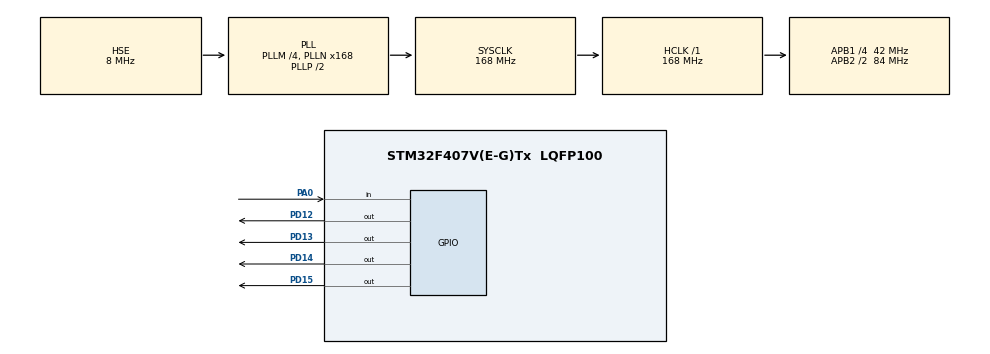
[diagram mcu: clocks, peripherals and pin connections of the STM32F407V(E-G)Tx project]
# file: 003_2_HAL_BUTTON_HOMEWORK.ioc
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Mcu.Family=STM32F4
Mcu.Name=STM32F407V(E-G)Tx
Mcu.Package=LQFP100
NVIC.PriorityGroup=NVIC_PRIORITYGROUP_4
PA0-WKUP.GPIO_PuPd=GPIO_PULLDOWN
PA0-WKUP.Signal=GPIO_Input
PD12.GPIO_ModeDefaultOutputPP=GPIO_MODE_OUTPUT_PP
PD12.GPIO_Speed=GPIO_SPEED_FREQ_VERY_HIGH
PD12.Signal=GPIO_Output
PD13.GPIO_Speed=GPIO_SPEED_FREQ_VERY_HIGH
PD13.Signal=GPIO_Output
PD14.GPIO_Speed=GPIO_SPEED_FREQ_VERY_HIGH
PD14.Signal=GPIO_Output
PD15.GPIO_Speed=GPIO_SPEED_FREQ_VERY_HIGH
PD15.Signal=GPIO_Output
PH0-OSC_IN.Mode=HSE-External-Oscillator
PH0-OSC_IN.Signal=RCC_OSC_IN
PH1-OSC_OUT.Mode=HSE-External-Oscillator
PH1-OSC_OUT.Signal=RCC_OSC_OUT
ProjectManager.HeapSize=0x200
ProjectManager.StackSize=0x400
ProjectManager.TargetToolchain=TrueSTUDIO
RCC.48MHZClocksFreq_Value=84000000
RCC.AHBFreq_Value=168000000
RCC.APB1CLKDivider=RCC_HCLK_DIV4
RCC.APB1Freq_Value=42000000
RCC.APB1TimFreq_Value=84000000
RCC.APB2CLKDivider=RCC_HCLK_DIV2
RCC.APB2Freq_Value=84000000
RCC.APB2TimFreq_Value=168000000
RCC.CortexFreq_Value=168000000
RCC.HCLKFreq_Value=168000000
RCC.HSE_VALUE=8000000
RCC.HSI_VALUE=16000000
RCC.LSE_VALUE=32768
RCC.PLLM=4
RCC.PLLN=168
RCC.PLLSourceVirtual=RCC_PLLSOURCE_HSE
RCC.SYSCLKFreq_VALUE=168000000
RCC.SYSCLKSource=RCC_SYSCLKSOURCE_PLLCLK
RCC.VCOOutputFreq_Value=336000000
board=custom

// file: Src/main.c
/* USER CODE BEGIN Header */
/**
  ******************************************************************************
  * @file           : main.c
  * @brief          : Main program body
  ******************************************************************************
  * @attention
  *
  * <h2><center>&copy; Copyright (c) 2023 STMicroelectronics.
  * All rights reserved.</center></h2>
  *
  * This software component is licensed by ST under BSD 3-Clause license,
  * the "License"; You may not use this file except in compliance with the
  * License. You may obtain a copy of the License at:
  *                        opensource.org/licenses/BSD-3-Clause
  *
  ******************************************************************************
  */
/* USER CODE END Header */

#include "main.h"

/* USER CODE BEGIN PV */

int count = 0;

/* USER CODE END PV */

void SystemClock_Config(void);
static void MX_GPIO_Init(void);

int main(void)
{

  /* MCU Configuration--------------------------------------------------------*/

  /* Reset of all peripherals, Initializes the Flash interface and the Systick. */
  HAL_Init();

  /* Configure the system clock */
  SystemClock_Config();

  /* Initialize all configured peripherals */
  MX_GPIO_Init();

  /* Infinite loop */
  while (1)
  {

    /* USER CODE BEGIN 3 */

	  if(HAL_GPIO_ReadPin(GPIOA, GPIO_PIN_0))
	  {
		  while(HAL_GPIO_ReadPin(GPIOA, GPIO_PIN_0));
		  HAL_Delay(100);
		  count++;

	  }

	  switch(count)
	  {
	  case 1:

		  HAL_GPIO_WritePin(GPIOD, GPIO_PIN_12, GPIO_PIN_SET);

		  break;

	  case 2:

		  HAL_GPIO_WritePin(GPIOD, GPIO_PIN_13, GPIO_PIN_SET);

		  break;

	  case 3:

		  HAL_GPIO_WritePin(GPIOD, GPIO_PIN_14, GPIO_PIN_SET);

		  break;

	  case 4:

		  HAL_GPIO_WritePin(GPIOD, GPIO_PIN_15, GPIO_PIN_SET);

		  break;

	  case 5:

		  HAL_GPIO_WritePin(GPIOD, GPIO_PIN_15, GPIO_PIN_RESET);

		  break;

	  case 6:

	  		  HAL_GPIO_WritePin(GPIOD, GPIO_PIN_14, GPIO_PIN_RESET);

	  		  break;

	  case 7:

	  		  HAL_GPIO_WritePin(GPIOD, GPIO_PIN_13, GPIO_PIN_RESET);

	  		  break;
	  case 8:

		  	  HAL_GPIO_WritePin(GPIOD, GPIO_PIN_12, GPIO_PIN_RESET);

		  	  break;

	  default:

		  count = 1;

		  break;
	  }
  }
  /* USER CODE END 3 */
}

void SystemClock_Config(void)
{
  RCC_OscInitTypeDef RCC_OscInitStruct = {0};
  RCC_ClkInitTypeDef RCC_ClkInitStruct = {0};

  /** Configure the main internal regulator output voltage
  */
  __HAL_RCC_PWR_CLK_ENABLE();
  __HAL_PWR_VOLTAGESCALING_CONFIG(PWR_REGULATOR_VOLTAGE_SCALE1);
  /** Initializes the CPU, AHB and APB busses clocks
  */
  RCC_OscInitStruct.OscillatorType = RCC_OSCILLATORTYPE_HSE;
  RCC_OscInitStruct.HSEState = RCC_HSE_ON;
  RCC_OscInitStruct.PLL.PLLState = RCC_PLL_ON;
  RCC_OscInitStruct.PLL.PLLSource = RCC_PLLSOURCE_HSE;
  RCC_OscInitStruct.PLL.PLLM = 4;
  RCC_OscInitStruct.PLL.PLLN = 168;
  RCC_OscInitStruct.PLL.PLLP = RCC_PLLP_DIV2;
  RCC_OscInitStruct.PLL.PLLQ = 4;
  if (HAL_RCC_OscConfig(&RCC_OscInitStruct) != HAL_OK)
  {
    Error_Handler();
  }
  /** Initializes the CPU, AHB and APB busses clocks
  */
  RCC_ClkInitStruct.ClockType = RCC_CLOCKTYPE_HCLK|RCC_CLOCKTYPE_SYSCLK
                              |RCC_CLOCKTYPE_PCLK1|RCC_CLOCKTYPE_PCLK2;
  RCC_ClkInitStruct.SYSCLKSource = RCC_SYSCLKSOURCE_PLLCLK;
  RCC_ClkInitStruct.AHBCLKDivider = RCC_SYSCLK_DIV1;
  RCC_ClkInitStruct.APB1CLKDivider = RCC_HCLK_DIV4;
  RCC_ClkInitStruct.APB2CLKDivider = RCC_HCLK_DIV2;

  if (HAL_RCC_ClockConfig(&RCC_ClkInitStruct, FLASH_LATENCY_5) != HAL_OK)
  {
    Error_Handler();
  }
}

static void MX_GPIO_Init(void)
{
  GPIO_InitTypeDef GPIO_InitStruct = {0};

  /* GPIO Ports Clock Enable */
  __HAL_RCC_GPIOH_CLK_ENABLE();
  __HAL_RCC_GPIOA_CLK_ENABLE();
  __HAL_RCC_GPIOD_CLK_ENABLE();

  /*Configure GPIO pin Output Level */
  HAL_GPIO_WritePin(GPIOD, GPIO_PIN_12|GPIO_PIN_13|GPIO_PIN_14|GPIO_PIN_15, GPIO_PIN_RESET);

  /*Configure GPIO pin : PA0 */
  GPIO_InitStruct.Pin = GPIO_PIN_0;
  GPIO_InitStruct.Mode = GPIO_MODE_INPUT;
  GPIO_InitStruct.Pull = GPIO_PULLDOWN;
  HAL_GPIO_Init(GPIOA, &GPIO_InitStruct);

  /*Configure GPIO pins : PD12 PD13 PD14 PD15 */
  GPIO_InitStruct.Pin = GPIO_PIN_12|GPIO_PIN_13|GPIO_PIN_14|GPIO_PIN_15;
  GPIO_InitStruct.Mode = GPIO_MODE_OUTPUT_PP;
  GPIO_InitStruct.Pull = GPIO_NOPULL;
  GPIO_InitStruct.Speed = GPIO_SPEED_FREQ_VERY_HIGH;
  HAL_GPIO_Init(GPIOD, &GPIO_InitStruct);

}

void Error_Handler(void)
{
}

/************************ (C) COPYRIGHT STMicroelectronics *****END OF FILE****/
